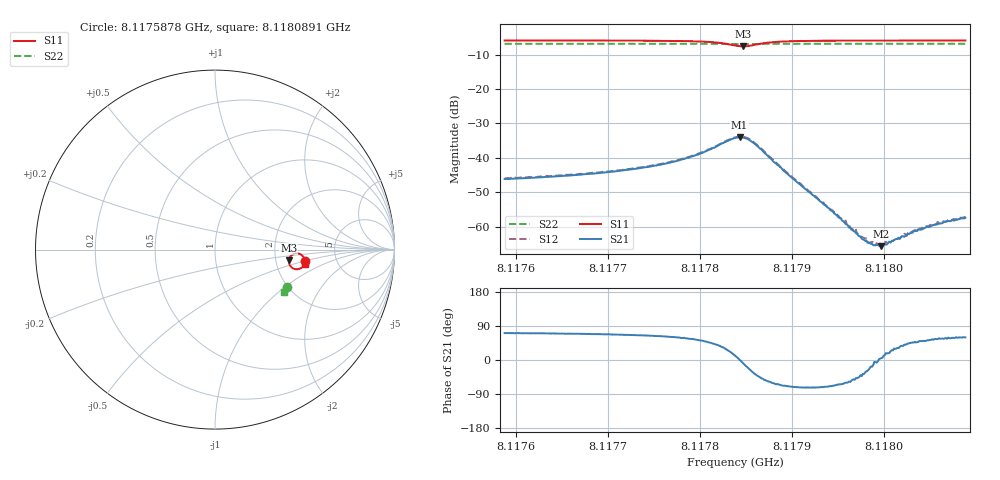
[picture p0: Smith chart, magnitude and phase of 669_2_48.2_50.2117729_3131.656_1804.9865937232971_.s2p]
#  HZ  S  RI  R  50.00
! Rohde & Schwarz Vector Network Analyzer
! Rohde-Schwarz,ZNB20-2Port,1311601062101988,3.16
! Created: UTC 3/20/2024, 12:06:03 PM
! freq[Hz]  re:S11  im:S11  re:S21  im:S21  re:S12  im:S12  re:S22  im:S22
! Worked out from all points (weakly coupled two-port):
!   401 points, 8.1175878 GHz to 8.1180891 GHz, reference 50 ohm
!   highest |S21| = -34.01 dB at 8.1178434 GHz (marker M1); lowest = -65.7 dB at 8.1179976 GHz (marker M2)
!   lowest |S11| = -7.6 dB at 8.1178472 GHz (marker M3), VSWR 2.42, Z = 118 - j17.1 ohm
!   |S11| at or under -10 dB: nowhere
!   |S22| runs from -6.9 to -6.9 dB; largest |S21 - S12| = 0.00067
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8.11758779e9  0.503 -0.0621  0.0016 0.00465  0.00164 0.00478  0.4027 -0.2071
8.11767175e9  0.5007 -0.0722  0.00205 0.00533  0.00213 0.00544  0.4001 -0.2125
8.11771687e9  0.4983 -0.0791  0.00262 0.00601  0.0027 0.00617  0.3985 -0.2155
8.11775572e9  0.4941 -0.0875  0.00358 0.00702  0.00363 0.00719  0.3973 -0.218
8.11779457e9  0.4825 -0.1005  0.00625 0.00877  0.00633 0.00884  0.3953 -0.2209
8.11782464e9  0.4488 -0.1091  0.0136 0.00911  0.0136 0.00916  0.393 -0.2226
8.11783843e9  0.4189 -0.0903  0.019 0.00392  0.0194 0.00395  0.3915 -0.2222
8.11784344e9  0.412 -0.074  0.0199 0.000278  0.0204 0.000285  0.3911 -0.2218
8.1178472e9  0.4114 -0.0599  0.0195 -0.00289  0.02 -0.00279  0.3911 -0.2213
8.11785973e9  0.4367 -0.0252  0.013 -0.00941  0.0134 -0.00974  0.3923 -0.2208
8.11788354e9  0.482 -0.0298  0.0036 -0.00734  0.00372 -0.00755  0.3935 -0.223
8.11792239e9  0.498 -0.0516  0.000882 -0.00279  0.000868 -0.00287  0.3927 -0.2266
8.1179462e9  0.5 -0.0593  0.000592 -0.00144  0.000646 -0.00147  0.3921 -0.2282
8.11796625e9  0.5005 -0.0644  0.000548 -0.000704  0.000539 -0.000752  0.3913 -0.2296
8.11797753e9  0.5007 -0.0666  0.000524 -0.000392  0.000534 -0.000447  0.3909 -0.2303
8.11798505e9  0.5007 -0.068  0.000544 -0.000214  0.00053 -0.000223  0.3907 -0.2309
8.11798881e9  0.5008 -0.0687  0.000523 -0.000124  0.000594 -0.000127  0.3905 -0.2311
8.11799758e9  0.5008 -0.0702  0.000519 4.61e-05  0.000534 3.09e-05  0.3902 -0.2316
8.11800635e9  0.5007 -0.0716  0.000572 0.000191  0.000588 0.00022  0.3898 -0.2323
8.11804395e9  0.5004 -0.0768  0.000607 0.000732  0.000617 0.000743  0.3886 -0.2348
8.11806776e9  0.5003 -0.0799  0.000626 0.00101  0.000636 0.000991  0.3879 -0.2361
8.11808906e9  0.5 -0.0822  0.000682 0.00116  0.000715 0.00117  0.3871 -0.2375
